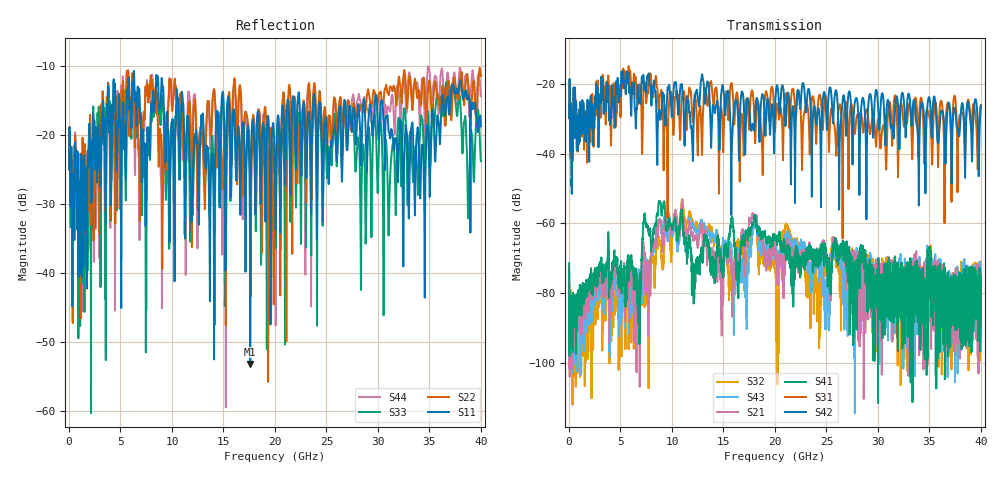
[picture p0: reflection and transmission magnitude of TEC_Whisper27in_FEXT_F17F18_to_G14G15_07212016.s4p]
! TE Connectivity
! F17F18-G14G15_FEXT
!! PART DESCRIPTION: Whisper 27in Megtron 6 HVLP-HVLP-HVLP Channel Model, bulkhead 2.92mm test points
!! MODEL DESCRIPTION: System 4-port S-parameter
!! MODEL STATUS: Measured
!! MODEL GEOMETRY: Channel Model
!! MODEL FREQUENCY RANGE: DC to 40 GHz in 10 MHz frequency steps
!! MODEL EDGE RATE LIMITATION: 12.5 ps (Using conservative 0.5/Fmax rule of thumb)
!! TIME-DOMAIN TRANSFORM CAUTIONS:
!! 1.) Do not simulate transient edge rates faster than the number listed above.  Edge
!!  rates faster than this number contain significant spectral content at frequencies
!!  above the model's highest frequency.
!! 2.) Even when simulating edge rates that are slower than the number listed above, be
!!  aware that the best time resolution possible with a direct iFFT is (1 / 2Fmax).
!!  As a result, time resolution is typically not adequate for most time-domain
!!  simulations unless tricks such as frequency-domain zero-padding and windowing are
!!  used to minimize leakage and aliasing.
!! 3.) Because the model has a uniform frequency step, a direct iFFT will result in an
!!  impulse that that has a time length given by either (1 / Fstep) or (1 / 2Fstep),
!!  depending on the transform being used.  Care has been taken in selecting the
!!  frequency step to ensure a settled impulse response for the model.  Therefore,
!!  convolution with the model's impulse response should present no issues.  However,
!!  if directly concatenating s-parameter models in the frequency domain a user must
!!  either interpolate necessary interim frequencies or complete impulse response
!!  zero-padding.  Impulse response zero-padding is more difficult, but more accurate.
!! PORT DEFINITIONS:
!! Port  1  ----->  Side A  F17  G14  Side B  <-----  Port  2
!! Port  3  ----->  Side A  F18  G15  Side B  <-----  Port  4
! Point-to-Point link (differential)  !
! Connectors:  !
!  1: STRADA Whisper 3.9mm  !
! Materials:  !
!  Backplane: Megtron-6 HVLP  !
!  Daughtercard: Megtron-6 HVLP  !
! Stack-up:  !
!  Backplane: 20 layers, 190mil thick  !
!  Daughtercard: 14 layers, 110mil thick  !
! Trace Length:  !
!  Backplane: 17in  !
!  Daughtercards: 5in  !
! Trace Width:  !
!  Backplane: 5.75-6.25-5.75 mils  !
!  Daughtercards: 6-9-6 mils  !
! Geometry:  !
!  Backplane: Stripline  !
!  Daughtercards: Stripline  !
! Layer Connections:  !
!  Backplane: Layer 16, counterbored(1-6mil stub)  !
!  Daughtercard: Layer 9, counterbored(1-6mil stub) !
! Freq. Range: 0 GHz - 40 GHz  !
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# hz S ma R 50
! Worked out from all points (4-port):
!   4000 points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, 10 MHz to 40 GHz, reference 50 ohm
!   strongest paths, dB at 10 MHz, 10.01 GHz, 20.01 GHz, 30.01 GHz, 40 GHz:
!     S42: -29.7, -28.8, -26.8, -26.1, -26.3
!     S31: -29.9, -26.8, -33.8, -30.1, -26.1
!     S41: -71.4, -60.9, -63.9, -111.5, -81.5
!     S21: -78.2, -61.0, -69.3, -78.6, -88.2
!     S43: -73.8, -62.6, -67.1, -76.1, -94.1
!     S32: -72.4, -63.8, -71.8, -76.9, -77.3
!   lowest |S11| = -53.2 dB at 17.6 GHz (marker M1), VSWR 1.00, Z = 50.1 + j0.196 ohm
!   |S11| at or under -10 dB: start of sweep to end of sweep
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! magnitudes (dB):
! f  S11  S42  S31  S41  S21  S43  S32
! 10 MHz  -24.9  -29.7  -29.9  -71.4  -78.2  -73.8  -72.4
! 6.75 GHz  -15.8  -23.4  -25.8  -76.7  -80.6  -74.4  -76.8
! 7.59 GHz  -19.8  -17.8  -22.5  -60.6  -72.6  -71.3  -79.8
! 11 GHz  -14.1  -21.4  -23.2  -57.1  -53.4  -57.8  -53.0
! 15.9 GHz  -17.9  -31.9  -22.6  -59.9  -84.4  -77.5  -76.1
! 17.6 GHz  -53.2  -30.8  -26.0  -62.7  -59.3  -68.0  -65.3
! 40 GHz  -18.7  -26.3  -26.1  -81.5  -88.2  -94.1  -77.3
